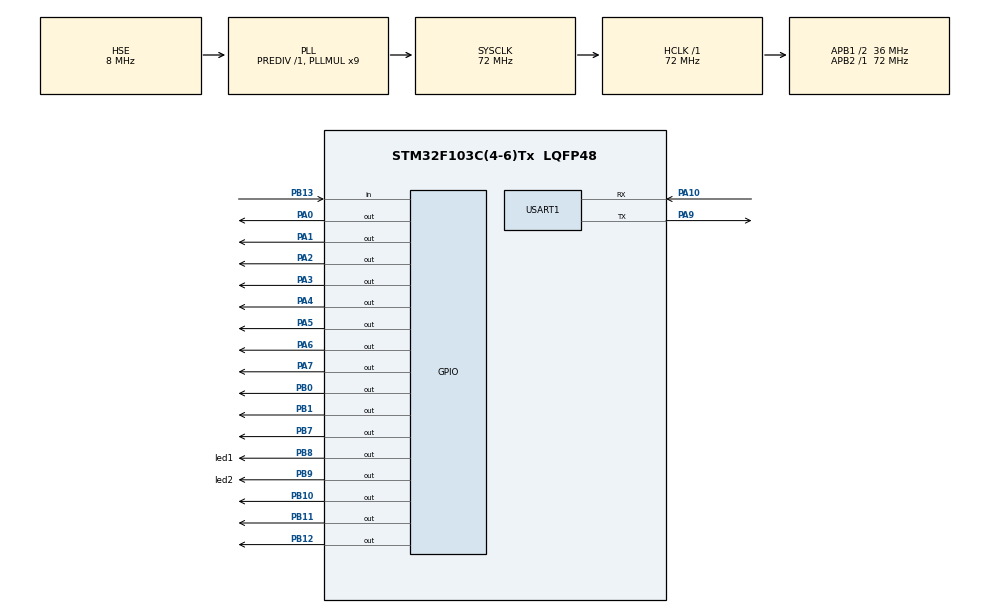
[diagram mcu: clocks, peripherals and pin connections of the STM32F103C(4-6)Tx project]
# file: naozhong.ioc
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Mcu.Family=STM32F1
Mcu.Name=STM32F103C(4-6)Tx
Mcu.Package=LQFP48
NVIC.PriorityGroup=NVIC_PRIORITYGROUP_4
NVIC.USART1_IRQn=true\:0\:0\:false\:false\:true\:true\:true\:true
PA0-WKUP.Signal=GPIO_Output
PA1.Signal=GPIO_Output
PA10.Mode=Asynchronous
PA10.Signal=USART1_RX
PA2.Signal=GPIO_Output
PA3.Signal=GPIO_Output
PA4.Signal=GPIO_Output
PA5.Signal=GPIO_Output
PA6.Signal=GPIO_Output
PA7.Signal=GPIO_Output
PA9.Mode=Asynchronous
PA9.Signal=USART1_TX
PB0.Signal=GPIO_Output
PB1.Signal=GPIO_Output
PB10.Signal=GPIO_Output
PB11.Signal=GPIO_Output
PB12.PinState=GPIO_PIN_SET
PB12.Signal=GPIO_Output
PB13.GPIO_PuPd=GPIO_PULLUP
PB13.Signal=GPIO_Input
PB7.Signal=GPIO_Output
PB8.GPIO_Label=led1
PB8.Signal=GPIO_Output
PB9.GPIO_Label=led2
PB9.Signal=GPIO_Output
PD0-OSC_IN.Mode=HSE-External-Oscillator
PD0-OSC_IN.Signal=RCC_OSC_IN
PD1-OSC_OUT.Mode=HSE-External-Oscillator
PD1-OSC_OUT.Signal=RCC_OSC_OUT
ProjectManager.HeapSize=0x200
ProjectManager.StackSize=0x400
ProjectManager.TargetToolchain=MDK-ARM V5.32
RCC.ADCPresc=RCC_ADCPCLK2_DIV6
RCC.AHBFreq_Value=72000000
RCC.APB1CLKDivider=RCC_HCLK_DIV2
RCC.APB1Freq_Value=36000000
RCC.APB1TimFreq_Value=72000000
RCC.APB2Freq_Value=72000000
RCC.APB2TimFreq_Value=72000000
RCC.HCLKFreq_Value=72000000
RCC.PLLMUL=RCC_PLL_MUL9
RCC.PLLSourceVirtual=RCC_PLLSOURCE_HSE
RCC.SYSCLKFreq_VALUE=72000000
RCC.SYSCLKSource=RCC_SYSCLKSOURCE_PLLCLK
RCC.USBFreq_Value=72000000
USART1.VirtualMode=VM_ASYNC
VP_SYS_VS_ND.Mode=No_Debug
board=custom

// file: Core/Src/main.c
/* USER CODE BEGIN Header */
/**
  ******************************************************************************
  * @file           : main.c
  * @brief          : Main program body
  ******************************************************************************
  * @attention
  *
  * Copyright (c) 2023 STMicroelectronics.
  * All rights reserved.
  *
  * This software is licensed under terms that can be found in the LICENSE file
  * in the root directory of this software component.
  * If no LICENSE file comes with this software, it is provided AS-IS.
  *
  ******************************************************************************
  */
/* USER CODE END Header */
#include "main.h"
#include "usart.h"
#include "gpio.h"

/* USER CODE BEGIN Includes */
#include "hx711.h"
#include <stdio.h>

/* USER CODE END Includes */

/* USER CODE BEGIN PTD */
int s=0;
int h=0,m=0;
int flag=1;
uint32_t sensorData;
/* USER CODE END PTD */

/* USER CODE BEGIN PD */
int fputc(int ch, FILE *f)
{
HAL_UART_Transmit(&huart1 , (uint8_t *)&ch, 1, 0xFFFF);
return ch;
}
/* USER CODE END PD */

void SystemClock_Config(void);

int main(void)
{

  /* MCU Configuration--------------------------------------------------------*/

  /* Reset of all peripherals, Initializes the Flash interface and the Systick. */
  HAL_Init();

  /* Configure the system clock */
  SystemClock_Config();

  /* Initialize all configured peripherals */
  MX_GPIO_Init();
  MX_USART1_UART_Init();
  /* USER CODE BEGIN 2 */
//	HX711_Init();
  /* USER CODE END 2 */

  /* Infinite loop */
  while (1)
  {

    /* USER CODE BEGIN 3 */
//		HAL_GPIO_WritePin(led_4_A[6].gpio,led_4_A[6].pin,1);
//display4(1234);
//		display_x4(1,2,3,4);

//		display_s_s(flag);

		if(sensorData>3000)
		{
			led_open(3);
		}
			else if(sensorData>2000)
		{
			led_open(2);
		}
			else if(sensorData>700)
		{
			led_open(1);
		}
		else
		led_open(0);
//		display_xms(55,55);
//		uint32_t sensorData = WeightReal();
//		printf("111,%d\n",sensorData);

  }
  /* USER CODE END 3 */
}

void SystemClock_Config(void)
{
  RCC_OscInitTypeDef RCC_OscInitStruct = {0};
  RCC_ClkInitTypeDef RCC_ClkInitStruct = {0};

  /** Initializes the RCC Oscillators according to the specified parameters
  * in the RCC_OscInitTypeDef structure.
  */
  RCC_OscInitStruct.OscillatorType = RCC_OSCILLATORTYPE_HSE;
  RCC_OscInitStruct.HSEState = RCC_HSE_ON;
  RCC_OscInitStruct.HSEPredivValue = RCC_HSE_PREDIV_DIV1;
  RCC_OscInitStruct.HSIState = RCC_HSI_ON;
  RCC_OscInitStruct.PLL.PLLState = RCC_PLL_ON;
  RCC_OscInitStruct.PLL.PLLSource = RCC_PLLSOURCE_HSE;
  RCC_OscInitStruct.PLL.PLLMUL = RCC_PLL_MUL9;
  if (HAL_RCC_OscConfig(&RCC_OscInitStruct) != HAL_OK)
  {
    Error_Handler();
  }

  /** Initializes the CPU, AHB and APB buses clocks
  */
  RCC_ClkInitStruct.ClockType = RCC_CLOCKTYPE_HCLK|RCC_CLOCKTYPE_SYSCLK
                              |RCC_CLOCKTYPE_PCLK1|RCC_CLOCKTYPE_PCLK2;
  RCC_ClkInitStruct.SYSCLKSource = RCC_SYSCLKSOURCE_PLLCLK;
  RCC_ClkInitStruct.AHBCLKDivider = RCC_SYSCLK_DIV1;
  RCC_ClkInitStruct.APB1CLKDivider = RCC_HCLK_DIV2;
  RCC_ClkInitStruct.APB2CLKDivider = RCC_HCLK_DIV1;

  if (HAL_RCC_ClockConfig(&RCC_ClkInitStruct, FLASH_LATENCY_2) != HAL_OK)
  {
    Error_Handler();
  }
}

void Error_Handler(void)
{
  __disable_irq();
  while (1)
  {
  }
}
